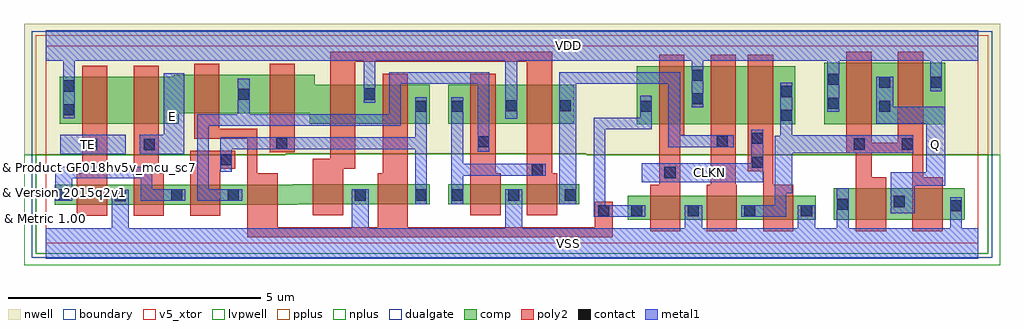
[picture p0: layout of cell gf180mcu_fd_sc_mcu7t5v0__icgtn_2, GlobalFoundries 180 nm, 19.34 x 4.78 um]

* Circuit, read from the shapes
.subckt gf180mcu_fd_sc_mcu7t5v0__icgtn_2 CLKN E Q TE VDD VSS
XM1 VSS TE n1 VSUBS nfet_05v0 w=0.395u l=0.6u
XM2 n1 E VSS VSUBS nfet_05v0 w=0.395u l=0.6u
XM3 n2 n3 n1 VSUBS nfet_05v0 w=0.395u l=0.6u
XM4 n4 n5 n2 VSUBS nfet_05v0 w=0.395u l=0.6u
XM5 VSS n6 n4 VSUBS nfet_05v0 w=0.395u l=0.6u
XM6 n3 n5 VSS VSUBS nfet_05v0 w=0.395u l=0.6u
XM7 VSS n2 n6 VSUBS nfet_05v0 w=0.395u l=0.6u
XM8 n7 n6 VSS VSUBS nfet_05v0 w=0.395u l=0.6u
XM9 VSS CLKN n5 VSUBS nfet_05v0 w=0.475u l=0.6u
XM10 n8 n7 VSS VSUBS nfet_05v0 w=0.475u l=0.6u
XM11 VSS CLKN n8 VSUBS nfet_05v0 w=0.475u l=0.6u
XM12 Q n8 VSS VSUBS nfet_05v0 w=0.63u l=0.6u m=2
XM13 n9 TE VDD n10 pfet_05v0 w=0.925u l=0.5u
XM14 n11 E n9 n10 pfet_05v0 w=0.925u l=0.5u
XM15 n2 n5 n11 n10 pfet_05v0 w=0.765u l=0.5u
XM16 n12 n3 n2 n10 pfet_05v0 w=0.765u l=0.5u
XM17 VDD n6 n12 n10 pfet_05v0 w=0.765u l=0.5u
XM18 n3 n5 VDD n10 pfet_05v0 w=0.765u l=0.5u
XM19 VDD n2 n6 n10 pfet_05v0 w=0.765u l=0.5u
XM20 n7 n6 VDD n10 pfet_05v0 w=0.765u l=0.5u
XM21 VDD CLKN n5 n10 pfet_05v0 w=1.155u l=0.5u
XM22 n13 n7 VDD n10 pfet_05v0 w=1.155u l=0.5u
XM23 n8 CLKN n13 n10 pfet_05v0 w=1.155u l=0.5u
XM24 Q n8 VDD n10 pfet_05v0 w=1.22u l=0.5u m=2
.ends

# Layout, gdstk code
import gdstk
lib = gdstk.Library(unit=1e-6, precision=1e-09)
def R(c, l, rs):  # rectangles x0, y0, x1, y1
    for r in rs: c.add(gdstk.rectangle(r[:2], r[2:], *l))
def A(c, l, x, y, w, h, nx, ny, dx, dy):  # array of equal rectangles
    R(c, l, [(x+i*dx, y+j*dy, x+i*dx+w, y+j*dy+h) for i in range(nx) for j in range(ny)])
def P(c, l, *ps):  # polygons
    for p in ps: c.add(gdstk.Polygon(p, *l))
boundary = (0, 0)
nwell = (21, 0)
comp = (22, 0)
poly2 = (30, 0)
pplus = (31, 0)
nplus = (32, 0)
contact = (33, 0)
metal1 = (34, 0)
dualgate = (55, 0)
v5_xtor = (112, 1)
lvpwell = (204, 0)

gf180mcu_fd_sc_mcu7t5v0_ = lib.new_cell('gf180mcu_fd_sc_mcu7t5v0__icgtn_2')
R(gf180mcu_fd_sc_mcu7t5v0_, boundary, [(0,0,18.48,3.92)])
P(gf180mcu_fd_sc_mcu7t5v0_, nwell, [(-0.43,1.76),(-0.43,4.35),(18.91,4.35),(18.91,1.76),(10.71,1.76),(10.71,1.775),(4.76,1.775),(4.76,1.76)])
R(gf180mcu_fd_sc_mcu7t5v0_, comp, [(11.535,0.465,15.255,0.94), (15.615,0.465,18.215,1.095), (7.975,0.78,10.575,1.175), (11.715,2.36,14.855,3.515), (15.425,2.36,17.825,3.58), (7.975,2.375,10.475,3.14)])
P(gf180mcu_fd_sc_mcu7t5v0_, comp, [(0.18,0.765),(0.18,1.16),(4.895,1.16),(4.895,1.175),(7.615,1.175),(7.615,0.78),(4.995,0.78),(4.995,0.765)],
  [(0.28,2.375),(0.28,3.3),(2.54,3.3),(2.54,3.34),(5.335,3.34),(5.335,3.14),(7.615,3.14),(7.615,2.375),(5.235,2.375),(5.235,2.575),(2.64,2.575),(2.64,2.375)])
R(gf180mcu_fd_sc_mcu7t5v0_, poly2, [(4.435,1.805,4.935,3.56)])
P(gf180mcu_fd_sc_mcu7t5v0_, poly2, [(0.62,0.545),(0.62,1.395),(0.72,1.395),(0.72,3.52),(1.22,3.52),(1.22,0.545)],
  [(1.74,0.545),(1.74,3.52),(2.24,3.52),(2.24,1.395),(2.34,1.395),(2.34,0.545)],
  [(2.86,0.545),(2.86,1.835),(3.755,1.835),(3.755,1.475),(3.46,1.475),(3.46,0.545)],
  [(8.415,0.56),(8.415,3.36),(8.915,3.36),(8.915,1.395),(9.015,1.395),(9.015,0.56)],
  [(5.295,0.56),(5.295,1.675),(5.635,1.675),(5.635,3.8),(10.035,3.8),(10.035,1.395),(10.135,1.395),(10.135,0.56),(9.535,0.56),(9.535,3.6),(6.135,3.6),(6.135,1.475),(5.895,1.475),(5.895,0.56)],
  [(3.995,0.12),(3.995,2.075),(2.94,2.075),(2.94,3.56),(3.44,3.56),(3.44,2.275),(4.195,2.275),(4.195,1.395),(4.595,1.395),(4.595,0.32),(6.575,0.32),(6.575,1.395),(6.675,1.395),(6.675,3.36),(7.175,3.36),(7.175,0.32),(10.875,0.32),(10.875,0.825),(11.235,0.825),(11.235,0.12)],
  [(11.975,0.245),(11.975,1.16),(12.155,1.16),(12.155,3.735),(12.655,3.735),(12.655,2.14),(12.575,2.14),(12.575,0.245)],
  [(13.095,0.245),(13.095,1.16),(13.175,1.16),(13.175,3.735),(13.675,3.735),(13.675,1.16),(13.695,1.16),(13.695,0.245)],
  [(14.215,0.245),(14.215,1.43),(13.915,1.43),(13.915,3.735),(14.415,3.735),(14.415,1.16),(14.815,1.16),(14.815,0.245)],
  [(16.055,0.245),(16.055,1.79),(15.865,1.79),(15.865,3.8),(16.365,3.8),(16.365,1.99),(16.885,1.99),(16.885,3.8),(17.385,3.8),(17.385,1.315),(17.775,1.315),(17.775,0.245),(17.175,0.245),(17.175,1.79),(16.365,1.79),(16.365,1.315),(16.655,1.315),(16.655,0.245)])
P(gf180mcu_fd_sc_mcu7t5v0_, pplus, [(-0.2,1.76),(-0.2,4.12),(18.68,4.12),(18.68,1.76),(10.71,1.76),(10.71,1.775),(4.76,1.775),(4.76,1.76)])
P(gf180mcu_fd_sc_mcu7t5v0_, nplus, [(-0.2,-0.2),(-0.2,1.76),(4.76,1.76),(4.76,1.775),(10.71,1.775),(10.71,1.76),(18.68,1.76),(18.68,-0.2)])
A(gf180mcu_fd_sc_mcu7t5v0_, contact, 11.605, 0.535, 0.22, 0.22, 4, 1, 1.12, 0)
A(gf180mcu_fd_sc_mcu7t5v0_, contact, 8.045, 0.85, 0.22, 0.22, 3, 1, 1.12, 0)
R(gf180mcu_fd_sc_mcu7t5v0_, contact, [(10.945,0.535,11.165,0.755), (17.925,0.635,18.145,0.855), (15.685,0.665,15.905,0.885), (16.805,0.72,17.025,0.94), (1.37,0.835,1.59,1.055), (0.25,0.85,0.47,1.07), (2.49,0.85,2.71,1.07), (3.61,0.85,3.83,1.07), (6.125,0.85,6.345,1.07), (7.325,0.85,7.545,1.07), (12.26,1.295,12.48,1.515), (9.63,1.345,9.85,1.565), (13.99,1.5,14.21,1.72), (3.465,1.545,3.685,1.765), (0.8,1.85,1.02,2.07), (1.94,1.85,2.16,2.07), (16.01,1.86,16.23,2.08), (16.965,1.86,17.185,2.08), (4.57,1.875,4.79,2.095), (8.565,1.905,8.785,2.125), (13.3,1.915,13.52,2.135), (13.99,1.97,14.21,2.19), (14.565,2.43,14.785,2.65), (0.35,2.54,0.57,2.76), (7.325,2.61,7.545,2.83), (8.045,2.61,8.265,2.83), (11.785,2.61,12.005,2.83), (16.515,2.61,16.735,2.83), (9.115,2.615,9.335,2.835), (10.185,2.615,10.405,2.835), (15.495,2.67,15.715,2.89), (12.805,2.755,13.025,2.975), (3.815,2.845,4.035,3.065), (6.305,2.85,6.525,3.07), (14.565,2.9,14.785,3.12), (0.35,3.01,0.57,3.23), (16.515,3.08,16.735,3.3), (17.535,3.08,17.755,3.3), (15.495,3.14,15.715,3.36), (12.805,3.225,13.025,3.445)])
R(gf180mcu_fd_sc_mcu7t5v0_, metal1, [(0.29,1.77,1.59,2.15)])
P(gf180mcu_fd_sc_mcu7t5v0_, metal1, [(1.865,1.77),(1.865,2.15),(2.34,2.15),(2.34,3.37),(2.75,3.37),(2.75,1.77)],
  [(0.19,0.845),(0.19,1.52),(2.115,1.52),(2.115,1.075),(2.77,1.075),(2.77,0.845),(1.885,0.845),(1.885,1.29),(0.53,1.29),(0.53,0.845)],
  [(7.32,0.78),(7.32,1.87),(3.69,1.87),(3.69,1.42),(3.46,1.42),(3.46,2.1),(7.32,2.1),(7.32,2.9),(7.55,2.9),(7.55,0.78)],
  [(3,0.845),(3,2.56),(3.81,2.56),(3.81,3.265),(4.04,3.265),(4.04,2.56),(6.81,2.56),(6.81,3.39),(8.79,3.39),(8.79,1.82),(8.56,1.82),(8.56,3.16),(7.04,3.16),(7.04,2.33),(3.23,2.33),(3.23,1.075),(3.89,1.075),(3.89,0.845)],
  [(8.04,0.78),(8.04,2.9),(8.27,2.9),(8.27,1.575),(9.91,1.575),(9.91,1.34),(8.27,1.34),(8.27,0.78)],
  [(10.86,0.53),(10.86,2.495),(11.78,2.495),(11.78,2.93),(12.01,2.93),(12.01,2.26),(11.09,2.26),(11.09,0.76),(11.885,0.76),(11.885,0.53)],
  [(10.18,0.78),(10.18,3.39),(12.57,3.39),(12.57,2.14),(13.63,2.14),(13.63,1.91),(12.34,1.91),(12.34,3.16),(10.51,3.16),(10.51,0.78)],
  [(11.81,1.21),(11.81,1.59),(13.985,1.59),(13.985,2.25),(14.215,2.25),(14.215,1.21)],
  [(13.785,0.53),(13.785,0.76),(14.445,0.76),(14.445,2.13),(14.56,2.13),(14.56,3.18),(14.79,3.18),(14.79,2.14),(17.19,2.14),(17.19,1.79),(14.79,1.79),(14.79,0.99),(14.675,0.99),(14.675,0.53)],
  [(16.75,0.6),(16.75,1.415),(17.45,1.415),(17.45,2.37),(16.455,2.37),(16.455,3.305),(16.795,3.305),(16.795,2.71),(17.83,2.71),(17.83,1.145),(17.22,1.145),(17.22,0.6)],
  [(0,-0.3),(0,0.3),(1.31,0.3),(1.31,1.06),(1.65,1.06),(1.65,0.3),(6.065,0.3),(6.065,1.075),(6.405,1.075),(6.405,0.3),(9.105,0.3),(9.105,1.075),(9.445,1.075),(9.445,0.3),(12.665,0.3),(12.665,0.76),(13.005,0.76),(13.005,0.3),(14.905,0.3),(14.905,0.76),(15.245,0.76),(15.245,0.3),(15.68,0.3),(15.68,1.09),(15.91,1.09),(15.91,0.3),(17.92,0.3),(17.92,0.915),(18.15,0.915),(18.15,0.3),(18.48,0.3),(18.48,-0.3)],
  [(9.11,2.47),(9.11,3.62),(6.53,3.62),(6.53,2.79),(6.3,2.79),(6.3,3.62),(0.575,3.62),(0.575,2.48),(0.345,2.48),(0.345,3.62),(0,3.62),(0,4.22),(18.48,4.22),(18.48,3.62),(17.76,3.62),(17.76,3.02),(17.53,3.02),(17.53,3.62),(15.72,3.62),(15.72,2.61),(15.49,2.61),(15.49,3.62),(13.03,3.62),(13.03,2.695),(12.8,2.695),(12.8,3.62),(9.34,3.62),(9.34,2.47)])
R(gf180mcu_fd_sc_mcu7t5v0_, dualgate, [(-0.28,-0.28,18.76,4.2)])
R(gf180mcu_fd_sc_mcu7t5v0_, v5_xtor, [(0,0,18.48,3.92)])
P(gf180mcu_fd_sc_mcu7t5v0_, lvpwell, [(-0.43,-0.43),(-0.43,1.76),(4.76,1.76),(4.76,1.775),(10.71,1.775),(10.71,1.76),(18.91,1.76),(18.91,-0.43)])
gf180mcu_fd_sc_mcu7t5v0_.add(gdstk.Label('Q', (17.64,1.96), layer=34, texttype=10))
gf180mcu_fd_sc_mcu7t5v0_.add(gdstk.Label('TE', (0.84,1.96), layer=34, texttype=10))
gf180mcu_fd_sc_mcu7t5v0_.add(gdstk.Label('VDD', (10.36,3.92), layer=34, texttype=10))
gf180mcu_fd_sc_mcu7t5v0_.add(gdstk.Label('VSS', (10.36,0), layer=34, texttype=10))
gf180mcu_fd_sc_mcu7t5v0_.add(gdstk.Label('CLKN', (13.16,1.4), layer=34, texttype=10))
gf180mcu_fd_sc_mcu7t5v0_.add(gdstk.Label('E', (2.52,2.52), layer=34, texttype=10))
gf180mcu_fd_sc_mcu7t5v0_.add(gdstk.Label('& Vendor GLOBALFOUNDRIES', (0,2), layer=63, texttype=63))
gf180mcu_fd_sc_mcu7t5v0_.add(gdstk.Label('& Product GF018hv5v_mcu_sc7', (0,1.5), layer=63, texttype=63))
gf180mcu_fd_sc_mcu7t5v0_.add(gdstk.Label('& Version 2015q2v1', (0,1), layer=63, texttype=63))
gf180mcu_fd_sc_mcu7t5v0_.add(gdstk.Label('& Metric 1.00', (0,0.5), layer=63, texttype=63))

lib.write_gds('gf180mcu_fd_sc_mcu7t5v0__icgtn_2.gds')
